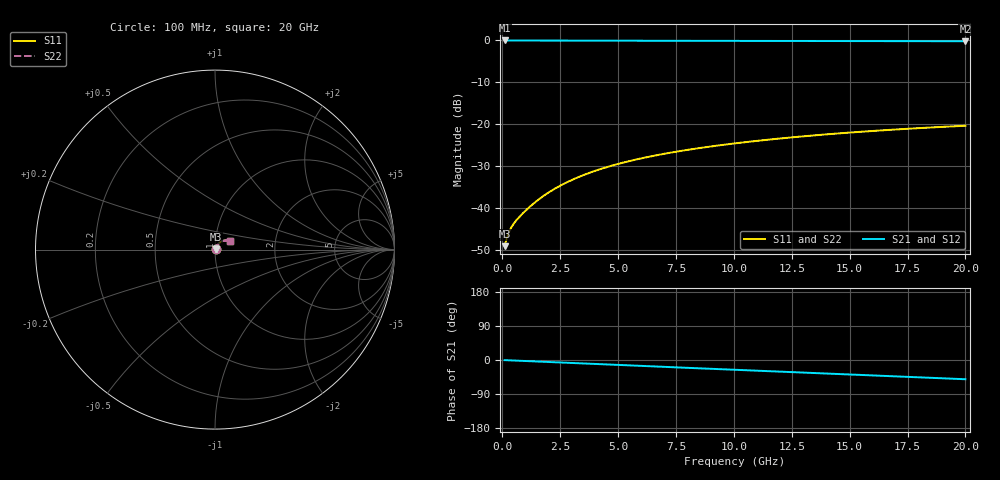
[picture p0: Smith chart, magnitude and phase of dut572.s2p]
! Touchstone file exported from HFSS 2026.1.0
!  File:  C:/ffzhzh/LocalFiles/Ansys_Project_Files/temp_train_TMRDL_572_1783008068_46388.aedt
!  Generated:  12:02:24 AM Jul  3, 2026
!  Design:  TMRDL
!  Project:  temp_train_TMRDL_572_1783008068_46388
! Variables:
!  h_bsmrdl = 2um
!  h_ox = 20um
!  h_rdl = 5um
!  h_sub = 80um
!  h_tmrdl = 3.91um
!  h_tsv = 80um
!  h_via = 3um
!  l_bsmrdl = 300um
!  l_sub = 1294.2um
!  l_tmrdl = 894.2um
!  m_sub = 200um
!  pitch = 35.51um
!  r_tsv = 6um
!  s_tmrdl = 10um
!  w_bsmrdl = 18um
!  w_sub = 500um
!  w_tmrdl = 28.4um
!  x_tsv_center1 = 908.4um
!  x_tsv_center2 = 1226.4um
!  x_tsv_center3 = 2149um
!  x_tsv_center4 = 2467um
!  x_tsv_center5 = 3389.6um
!  x_tsv_center6 = 3707.6um
# GHz S MA R 50.000000
! Terminal data exported
! Port[1] = TM_RDL1_1_T1
! Port[2] = TM_RDL1_1_T2
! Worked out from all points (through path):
!   200 points, 100 MHz to 20 GHz, reference 50 ohm
!   highest |S21| = -0.03 dB at 100 MHz (marker M1); lowest = -0.2 dB at 20 GHz (marker M2)
!   group delay of S21, straight-line fit = 7.02 ps
!   lowest |S11| = -49.1 dB at 100 MHz (marker M3), VSWR 1.01, Z = 50.3 + j0.135 ohm
!   |S11| at or under -10 dB: start of sweep to end of sweep
!   |S22| runs from -49.1 to -20.4 dB; largest |S21 - S12| = 3.5e-15
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0.1  0.00349 22.7  0.9968 -0.3  0.9968 -0.3  0.00349 22.7
! Gamma 0 0 0 0
! Port Impedance 50 0 50 0
0.2  0.004404 33.0  0.9963 -0.6  0.9963 -0.6  0.004404 33.0
0.3  0.005234 37.4  0.9959 -0.9  0.9959 -0.9  0.005237 37.4
0.4  0.00592 40.1  0.9956 -1.1  0.9956 -1.1  0.005924 40.1
0.5  0.006514 42.5  0.9953 -1.4  0.9953 -1.4  0.00652 42.5
0.7  0.007602 46.8  0.995 -1.9  0.995 -1.9  0.00761 46.8
1.1  0.009806 53.9  0.9947 -2.9  0.9947 -2.9  0.009814 53.8
1.6  0.01277 59.2  0.9943 -4.2  0.9943 -4.2  0.01278 59.2
1.9  0.01463 61.1  0.9941 -5.0  0.9941 -5.0  0.01463 61.0
2.2  0.0165 62.3  0.9938 -5.8  0.9938 -5.8  0.0165 62.2
2.8  0.02026 63.4  0.9932 -7.4  0.9932 -7.4  0.02026 63.3
3.5  0.02459 63.4  0.9924 -9.2  0.9924 -9.2  0.0246 63.4
4.2  0.02881 62.7  0.9915 -11.0  0.9915 -11.0  0.02881 62.7
5  0.03345 61.4  0.9904 -13.0  0.9904 -13.0  0.03346 61.4
5.9  0.03846 59.7  0.9893 -15.3  0.9893 -15.3  0.03847 59.7
6.8  0.04323 57.9  0.9881 -17.6  0.9881 -17.6  0.04324 57.8
8.3  0.05074 54.7  0.9863 -21.4  0.9863 -21.4  0.05076 54.6
10.1  0.05913 50.8  0.9843 -26.0  0.9843 -26.0  0.05916 50.7
11.7  0.06611 47.3  0.9827 -30.0  0.9827 -30.0  0.06615 47.2
13.4  0.07308 43.6  0.9811 -34.3  0.9811 -34.3  0.07313 43.4
16.7  0.08529 36.2  0.9783 -42.5  0.9783 -42.5  0.08536 36.1
20  0.0956 28.8  0.9759 -50.8  0.9759 -50.8  0.09568 28.6
